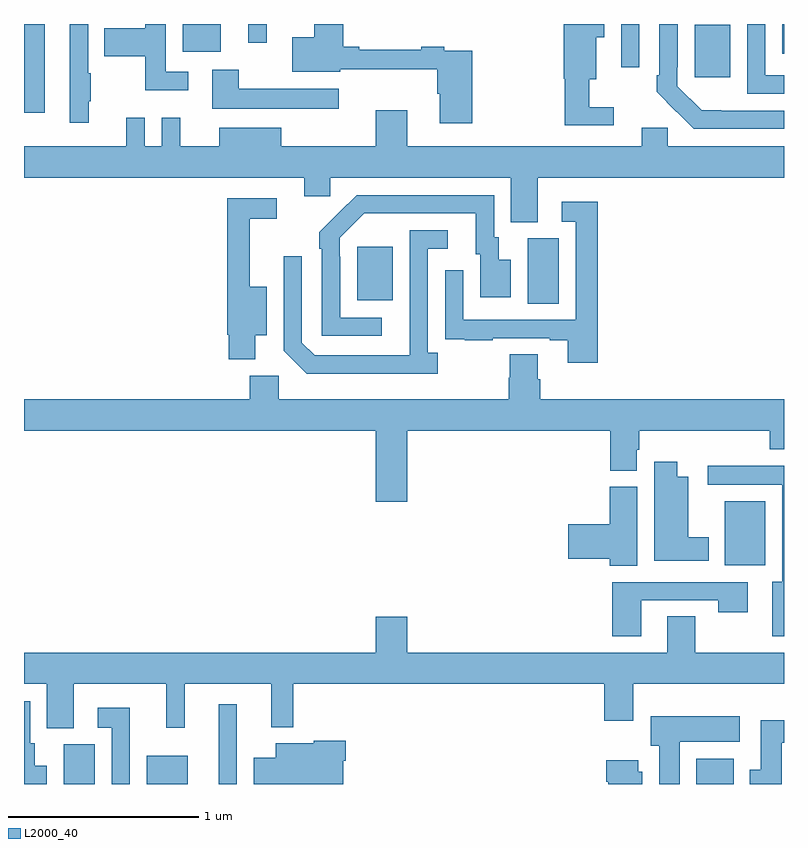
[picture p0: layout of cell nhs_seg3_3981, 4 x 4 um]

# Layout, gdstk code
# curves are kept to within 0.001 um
import gdstk
lib = gdstk.Library(unit=1e-6, precision=1e-09)
def R(c, l, rs):  # rectangles x0, y0, x1, y1
    for r in rs: c.add(gdstk.rectangle(r[:2], r[2:], *l))
def P(c, l, *ps):  # polygons
    for p in ps: c.add(gdstk.Polygon(p, *l))
L2000_40 = (2000, 40)

nhs_seg3_3981 = lib.new_cell('nhs_seg3_3981')
R(nhs_seg3_3981, L2000_40, [(319.208,688.4,319.372,688.608), (319.646,688.4,319.861,688.549), (320.024,688.4,320.121,688.819), (322.538,688.4,322.735,688.534), (322.688,689.552,322.9,689.887), (321.65,690.928,321.814,691.272), (320.753,690.947,320.941,691.228), (319,691.932,319.108,692.4), (322.529,692.121,322.717,692.395), (322.143,692.172,322.239,692.4), (322.992,692.244,323,692.4), (319.835,692.255,320.035,692.4), (320.18,692.301,320.278,692.4)])
P(nhs_seg3_3981, L2000_40, [(321.359,692.259),(321.212,692.259),(321.212,692.279),(321.092,692.279),(321.092,692.264),(320.764,692.264),(320.764,692.279),(320.681,692.279),(320.681,692.4),(320.528,692.4),(320.528,692.329),(320.411,692.329),(320.411,692.15),(320.664,692.15),(320.664,692.162),(321.176,692.162),(321.176,692.032),(321.188,692.032),(321.188,691.878),(321.359,691.878)],
  [(323,692.13),(322.902,692.13),(322.902,692.4),(322.806,692.4),(322.806,692.034),(323,692.034)],
  [(322.105,691.963),(321.976,691.963),(321.976,692.108),(322.012,692.108),(322.012,692.33),(322.054,692.33),(322.054,692.4),(321.842,692.4),(321.842,692.112),(321.847,692.112),(321.847,691.866),(322.105,691.866)],
  [(323,691.944),(322.566,691.945),(322.437,692.073),(322.437,692.173),(322.44,692.173),(322.44,692.4),(322.344,692.4),(322.344,692.131),(322.329,692.131),(322.329,692.043),(322.526,691.848),(323,691.848)],
  [(319.864,692.148),(319.746,692.148),(319.746,692.4),(319.638,692.4),(319.638,692.377),(319.423,692.377),(319.423,692.23),(319.638,692.23),(319.638,692.051),(319.864,692.051)],
  [(319.34,691.993),(319.351,691.993),(319.351,692.141),(319.338,692.141),(319.338,692.4),(319.241,692.4),(319.241,691.881),(319.34,691.881)],
  [(320.656,692.059),(320.131,692.059),(320.131,692.158),(319.991,692.158),(319.991,691.955),(320.656,691.955)],
  [(321.703,691.592),(323,691.592),(323,691.756),(322.389,691.756),(322.389,691.854),(322.25,691.854),(322.25,691.756),(321.016,691.756),(321.016,691.945),(320.852,691.945),(320.852,691.756),(320.353,691.756),(320.353,691.855),(320.027,691.855),(320.027,691.756),(319.823,691.756),(319.823,691.906),(319.725,691.906),(319.725,691.756),(319.635,691.756),(319.635,691.906),(319.538,691.906),(319.538,691.756),(319,691.756),(319,691.592),(320.474,691.592),(320.474,691.494),(320.613,691.494),(320.613,691.592),(321.563,691.592),(321.563,691.357),(321.703,691.357)],
  [(320.884,690.855),(320.664,690.855),(320.664,691.175),(320.661,691.175),(320.661,691.275),(320.79,691.404),(321.377,691.404),(321.377,691.188),(321.401,691.188),(321.401,690.963),(321.562,690.963),(321.562,691.159),(321.499,691.159),(321.499,691.278),(321.474,691.278),(321.474,691.5),(320.75,691.5),(320.553,691.305),(320.553,691.217),(320.568,691.217),(320.568,690.759),(320.884,690.759)],
  [(320.218,690.761),(320.278,690.761),(320.278,691.018),(320.189,691.018),(320.189,691.374),(320.329,691.374),(320.329,691.482),(320.071,691.482),(320.071,690.765),(320.078,690.765),(320.078,690.635),(320.218,690.635)],
  [(322.019,691.465),(321.831,691.465),(321.831,691.359),(321.903,691.359),(321.903,690.843),(321.312,690.843),(321.312,691.105),(321.216,691.105),(321.216,690.85),(321.217,690.85),(321.217,690.741),(321.319,690.741),(321.319,690.735),(321.467,690.735),(321.467,690.747),(321.767,690.747),(321.767,690.735),(321.863,690.735),(321.863,690.618),(322.019,690.618)],
  [(321.178,690.67),(321.126,690.67),(321.126,691.218),(321.229,691.218),(321.229,691.314),(321.03,691.314),(321.03,690.657),(320.529,690.657),(320.463,690.723),(320.463,691.177),(320.367,691.177),(320.367,690.681),(320.488,690.56),(321.178,690.56)],
  [(321.016,690.26),(322.085,690.26),(322.085,690.049),(322.225,690.049),(322.225,690.159),(322.238,690.159),(322.238,690.26),(322.925,690.26),(322.925,690.161),(323,690.161),(323,690.424),(321.716,690.424),(321.716,690.53),(321.703,690.53),(321.703,690.662),(321.556,690.662),(321.556,690.537),(321.551,690.537),(321.551,690.424),(320.34,690.424),(320.34,690.55),(320.189,690.55),(320.189,690.424),(319,690.424),(319,690.26),(320.852,690.26),(320.852,689.886),(321.016,689.886)],
  [(322.603,689.698),(322.495,689.698),(322.495,690.016),(322.438,690.016),(322.438,690.097),(322.316,690.097),(322.316,689.576),(322.603,689.576)],
  [(323,690.074),(322.599,690.074),(322.599,689.976),(322.991,689.976),(322.991,689.464),(322.937,689.464),(322.937,689.178),(323,689.178)],
  [(322.228,689.964),(322.082,689.964),(322.082,689.768),(321.864,689.768),(321.864,689.585),(322.082,689.585),(322.082,689.548),(322.228,689.548)],
  [(322.249,689.367),(322.654,689.367),(322.654,689.304),(322.81,689.304),(322.81,689.463),(322.097,689.463),(322.097,689.178),(322.249,689.178)],
  [(319.261,688.928),(319.748,688.928),(319.748,688.695),(319.847,688.695),(319.847,688.928),(320.3,688.928),(320.3,688.7),(320.417,688.7),(320.417,688.928),(322.055,688.928),(322.055,688.734),(322.207,688.734),(322.207,688.928),(323,688.928),(323,689.092),(322.533,689.092),(322.533,689.282),(322.385,689.282),(322.385,689.092),(321.016,689.092),(321.016,689.281),(320.852,689.281),(320.852,689.092),(319,689.092),(319,688.928),(319.121,688.928),(319.121,688.693),(319.261,688.693)],
  [(319.12,688.495),(319.057,688.495),(319.057,688.614),(319.032,688.614),(319.032,688.836),(319,688.836),(319,688.4),(319.12,688.4)],
  [(319.557,688.801),(319.389,688.801),(319.389,688.695),(319.461,688.695),(319.461,688.4),(319.557,688.4)],
  [(322.45,688.622),(322.768,688.622),(322.768,688.756),(322.298,688.756),(322.298,688.602),(322.343,688.602),(322.343,688.4),(322.45,688.4)],
  [(322.987,688.616),(323,688.616),(323,688.735),(322.877,688.735),(322.877,688.476),(322.82,688.476),(322.82,688.4),(322.987,688.4)],
  [(320.68,688.523),(320.693,688.523),(320.693,688.627),(320.526,688.627),(320.526,688.615),(320.324,688.615),(320.324,688.537),(320.21,688.537),(320.21,688.4),(320.68,688.4)],
  [(322.255,688.464),(322.234,688.464),(322.234,688.525),(322.064,688.525),(322.064,688.412),(322.076,688.412),(322.076,688.4),(322.255,688.4)])

lib.write_gds('nhs_seg3_3981.gds')
